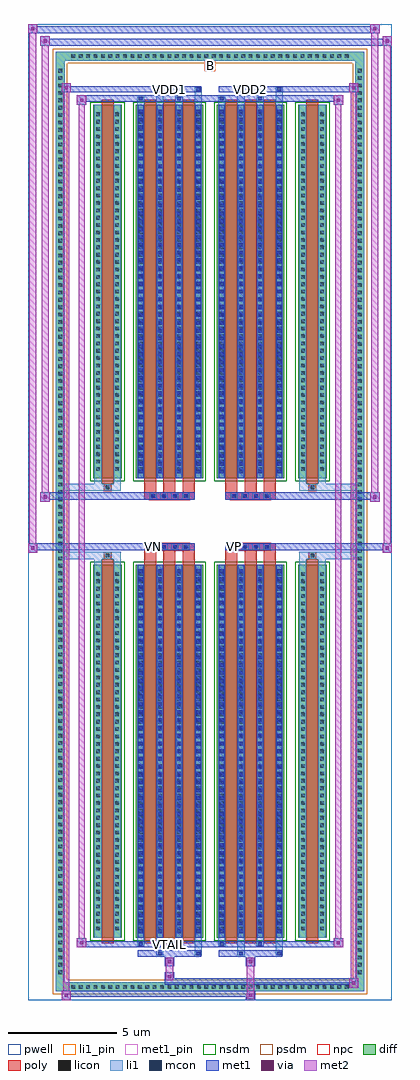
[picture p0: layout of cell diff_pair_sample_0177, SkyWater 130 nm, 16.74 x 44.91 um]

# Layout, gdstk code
import gdstk
lib = gdstk.Library(unit=1e-6, precision=5e-09)
def R(c, l, rs):  # rectangles x0, y0, x1, y1
    for r in rs: c.add(gdstk.rectangle(r[:2], r[2:], *l))
def A(c, l, x, y, w, h, nx, ny, dx, dy):  # array of equal rectangles
    R(c, l, [(x+i*dx, y+j*dy, x+i*dx+w, y+j*dy+h) for i in range(nx) for j in range(ny)])
def P(c, l, *ps):  # polygons
    for p in ps: c.add(gdstk.Polygon(p, *l))
pwell = (64, 44)
diff = (65, 20)
poly = (66, 20)
licon = (66, 44)
li1_pin = (67, 16)
li1 = (67, 20)
mcon = (67, 44)
met1_pin = (68, 16)
met1 = (68, 20)
via = (68, 44)
met2 = (69, 20)
nsdm = (93, 44)
psdm = (94, 20)
npc = (95, 20)

diff_pair_sample_0177 = lib.new_cell('diff_pair_sample_0177')
R(diff_pair_sample_0177, pwell, [(-8.37,-22.02,8.37,22.89), (-5.69,-20.21,-0.01,-0.805), (0.01,-20.21,5.69,-0.805), (-5.69,0.805,-0.01,20.21), (0.01,0.805,5.69,20.21)])
A(diff_pair_sample_0177, diff, -6.495, -21.62, 0.41, 0.41, 38, 2, 0.34, 42.83)
A(diff_pair_sample_0177, diff, -7.1, -20.945, 0.41, 0.41, 1, 123, 0, 0.34)
A(diff_pair_sample_0177, diff, 6.69, -20.945, 0.41, 0.41, 1, 123, 0, 0.34)
R(diff_pair_sample_0177, diff, [(-6.495,-21.62,6.495,-21.21), (-7.1,-20.945,-6.69,20.945), (6.69,-20.945,7.1,20.945), (-5.38,-19.165,-4.05,-1.985), (-3.41,-19.165,-0.32,-1.985), (0.32,-19.165,3.41,-1.985), (4.05,-19.165,5.38,-1.985), (-5.38,1.985,-4.05,19.165), (-3.41,1.985,-0.32,19.165), (0.32,1.985,3.41,19.165), (4.05,1.985,5.38,19.165), (-6.495,21.21,6.495,21.62)])
P(diff_pair_sample_0177, diff, [(7.1,21.62),(-7.1,21.62),(-7.1,-21.21),(-6.69,-21.21),(-6.69,21.21),(6.69,21.21),(6.69,-21.21),(-6.69,-21.21),(-7.1,-21.21),(-7.1,-21.62),(7.1,-21.62)])
A(diff_pair_sample_0177, poly, -3.02, -19.415, 0.55, 17.68, 3, 2, 0.88, 21.15)
A(diff_pair_sample_0177, poly, 0.71, -19.415, 0.55, 17.68, 3, 2, 0.88, 21.15)
A(diff_pair_sample_0177, poly, -3.02, -1.735, 0.55, 0.4, 3, 2, 0.88, 3.07)
A(diff_pair_sample_0177, poly, 0.71, -1.735, 0.55, 0.4, 3, 2, 0.88, 3.07)
A(diff_pair_sample_0177, poly, -2.78, -1.335, 0.33, 0.33, 4, 2, 0.5, 2.34)
A(diff_pair_sample_0177, poly, 0.95, -1.335, 0.33, 0.33, 4, 2, 0.5, 2.34)
R(diff_pair_sample_0177, poly, [(-4.99,-19.415,-4.44,-1.735), (4.44,-19.415,4.99,-1.735), (-4.88,-1.735,-4.55,-1.405), (-4.88,-1.735,-4.55,-1.405), (4.55,-1.735,4.88,-1.405), (4.55,-1.735,4.88,-1.405), (-3.02,-1.335,-0.71,-1.005), (0.71,-1.335,3.02,-1.005), (-3.02,1.005,-0.71,1.335), (0.71,1.005,3.02,1.335), (-4.88,1.405,-4.55,1.735), (-4.88,1.405,-4.55,1.735), (4.55,1.405,4.88,1.735), (4.55,1.405,4.88,1.735), (-4.99,1.735,-4.44,19.415), (4.44,1.735,4.99,19.415)])
A(diff_pair_sample_0177, licon, -6.375, -21.5, 0.17, 0.17, 38, 2, 0.34, 42.83)
A(diff_pair_sample_0177, licon, -6.98, -20.825, 0.17, 0.17, 1, 123, 0, 0.34)
A(diff_pair_sample_0177, licon, 6.81, -20.825, 0.17, 0.17, 1, 123, 0, 0.34)
A(diff_pair_sample_0177, licon, -5.24, -18.82, 0.17, 0.17, 1, 49, 0, 0.34)
A(diff_pair_sample_0177, licon, -4.36, -18.82, 0.17, 0.17, 1, 49, 0, 0.34)
A(diff_pair_sample_0177, licon, -3.27, -18.82, 0.17, 0.17, 4, 49, 0.88, 0.34)
A(diff_pair_sample_0177, licon, 0.46, -18.82, 0.17, 0.17, 4, 49, 0.88, 0.34)
A(diff_pair_sample_0177, licon, 4.19, -18.82, 0.17, 0.17, 1, 49, 0, 0.34)
A(diff_pair_sample_0177, licon, 5.07, -18.82, 0.17, 0.17, 1, 49, 0, 0.34)
A(diff_pair_sample_0177, licon, -2.7, -1.255, 0.17, 0.17, 4, 2, 0.5, 2.34)
A(diff_pair_sample_0177, licon, 1.03, -1.255, 0.17, 0.17, 4, 2, 0.5, 2.34)
A(diff_pair_sample_0177, licon, -5.24, 2.33, 0.17, 0.17, 1, 49, 0, 0.34)
A(diff_pair_sample_0177, licon, -4.36, 2.33, 0.17, 0.17, 1, 49, 0, 0.34)
A(diff_pair_sample_0177, licon, -3.27, 2.33, 0.17, 0.17, 4, 49, 0.88, 0.34)
A(diff_pair_sample_0177, licon, 0.46, 2.33, 0.17, 0.17, 4, 49, 0.88, 0.34)
A(diff_pair_sample_0177, licon, 4.19, 2.33, 0.17, 0.17, 1, 49, 0, 0.34)
A(diff_pair_sample_0177, licon, 5.07, 2.33, 0.17, 0.17, 1, 49, 0, 0.34)
R(diff_pair_sample_0177, licon, [(-4.8,-1.655,-4.63,-1.485), (4.63,-1.655,4.8,-1.485), (-4.8,1.485,-4.63,1.655), (4.63,1.485,4.8,1.655)])
R(diff_pair_sample_0177, li1_pin, [(-0.25,20.71,0.25,21.21)])
A(diff_pair_sample_0177, li1, -6.455, -21.58, 0.33, 0.33, 38, 2, 0.34, 42.83)
A(diff_pair_sample_0177, li1, -7.06, -20.905, 0.33, 0.33, 1, 123, 0, 0.34)
A(diff_pair_sample_0177, li1, 6.73, -20.905, 0.33, 0.33, 1, 123, 0, 0.34)
A(diff_pair_sample_0177, li1, -3.35, -19.165, 0.33, 17.18, 4, 2, 0.88, 21.15)
A(diff_pair_sample_0177, li1, 0.38, -19.165, 0.33, 17.18, 4, 2, 0.88, 21.15)
A(diff_pair_sample_0177, li1, -3.27, -18.94, 0.17, 0.17, 4, 47, 0.88, 0.36)
A(diff_pair_sample_0177, li1, -3.27, -18.94, 0.17, 16.73, 4, 2, 0.88, 21.15)
A(diff_pair_sample_0177, li1, 0.46, -18.94, 0.17, 0.17, 4, 47, 0.88, 0.36)
A(diff_pair_sample_0177, li1, 0.46, -18.94, 0.17, 16.73, 4, 2, 0.88, 21.15)
A(diff_pair_sample_0177, li1, -5.32, -18.9, 0.33, 0.33, 1, 49, 0, 0.34)
A(diff_pair_sample_0177, li1, -4.44, -18.9, 0.33, 0.33, 1, 49, 0, 0.34)
A(diff_pair_sample_0177, li1, -3.35, -18.9, 0.33, 0.33, 4, 49, 0.88, 0.34)
A(diff_pair_sample_0177, li1, 0.38, -18.9, 0.33, 0.33, 4, 49, 0.88, 0.34)
A(diff_pair_sample_0177, li1, 4.11, -18.9, 0.33, 0.33, 1, 49, 0, 0.34)
A(diff_pair_sample_0177, li1, 4.99, -18.9, 0.33, 0.33, 1, 49, 0, 0.34)
A(diff_pair_sample_0177, li1, -2.78, -1.335, 0.33, 0.33, 4, 2, 0.5, 2.34)
A(diff_pair_sample_0177, li1, 0.95, -1.335, 0.33, 0.33, 4, 2, 0.5, 2.34)
A(diff_pair_sample_0177, li1, -3.27, 2.21, 0.17, 0.17, 4, 47, 0.88, 0.36)
A(diff_pair_sample_0177, li1, 0.46, 2.21, 0.17, 0.17, 4, 47, 0.88, 0.36)
A(diff_pair_sample_0177, li1, -5.32, 2.25, 0.33, 0.33, 1, 49, 0, 0.34)
A(diff_pair_sample_0177, li1, -4.44, 2.25, 0.33, 0.33, 1, 49, 0, 0.34)
A(diff_pair_sample_0177, li1, -3.35, 2.25, 0.33, 0.33, 4, 49, 0.88, 0.34)
A(diff_pair_sample_0177, li1, 0.38, 2.25, 0.33, 0.33, 4, 49, 0.88, 0.34)
A(diff_pair_sample_0177, li1, 4.11, 2.25, 0.33, 0.33, 1, 49, 0, 0.34)
A(diff_pair_sample_0177, li1, 4.99, 2.25, 0.33, 0.33, 1, 49, 0, 0.34)
R(diff_pair_sample_0177, li1, [(-7.1,-21.62,-6.69,-21.21), (-7.1,-21.62,-6.69,-21.21), (-6.69,-21.62,6.69,-21.21), (6.69,-21.62,7.1,-21.21), (6.69,-21.62,7.1,-21.21), (-7.1,-21.21,-6.69,21.21), (6.69,-21.21,7.1,21.21), (-2.47,-19.97,-2.14,-19.165), (-2.39,-19.97,-2.22,-19.8), (-0.71,-19.97,-0.38,-19.165), (-0.63,-19.97,-0.46,-19.8), (1.26,-19.97,1.59,-19.165), (1.34,-19.97,1.51,-19.8), (3.02,-19.97,3.35,-19.165), (3.1,-19.97,3.27,-19.8), (-3.35,-19.54,-3.02,-19.165), (-3.27,-19.54,-3.1,-19.37), (-1.59,-19.54,-1.26,-19.165), (-1.51,-19.54,-1.34,-19.37), (0.38,-19.54,0.71,-19.165), (0.46,-19.54,0.63,-19.37), (2.14,-19.54,2.47,-19.165), (2.22,-19.54,2.39,-19.37), (-5.32,-19.165,-4.99,-1.985), (-4.44,-19.165,-4.11,-1.985), (4.11,-19.165,4.44,-1.985), (4.99,-19.165,5.32,-1.985), (-5.32,-1.985,-4.99,-1.405), (-4.44,-1.985,-4.11,-1.405), (4.11,-1.985,4.44,-1.405), (4.99,-1.985,5.32,-1.405), (-7.1,-1.735,-4.88,-1.405), (-5.32,-1.735,-4.88,-1.405), (-4.88,-1.735,-4.55,-1.405), (-4.55,-1.735,-4.11,-1.405), (4.11,-1.735,4.55,-1.405), (4.55,-1.735,4.88,-1.405), (4.55,-1.735,7.1,-1.405), (4.88,-1.735,5.32,-1.405), (-7.1,1.405,-4.88,1.735), (-5.32,1.405,-4.88,1.735), (-5.32,1.405,-4.99,1.985), (-4.88,1.405,-4.55,1.735), (-4.55,1.405,-4.11,1.735), (-4.44,1.405,-4.11,1.985), (4.11,1.405,4.55,1.735), (4.11,1.405,4.44,1.985), (4.55,1.405,4.88,1.735), (4.55,1.405,7.1,1.735), (4.88,1.405,5.32,1.735), (4.99,1.405,5.32,1.985), (-5.32,1.985,-4.99,19.165), (-4.44,1.985,-4.11,19.165), (4.11,1.985,4.44,19.165), (4.99,1.985,5.32,19.165), (-3.35,19.165,-3.02,19.54), (-2.47,19.165,-2.14,19.97), (-1.59,19.165,-1.26,19.54), (-0.71,19.165,-0.38,19.97), (0.38,19.165,0.71,19.54), (1.26,19.165,1.59,19.97), (2.14,19.165,2.47,19.54), (3.02,19.165,3.35,19.97), (-3.27,19.37,-3.1,19.54), (-1.51,19.37,-1.34,19.54), (0.46,19.37,0.63,19.54), (2.22,19.37,2.39,19.54), (-2.39,19.8,-2.22,19.97), (-0.63,19.8,-0.46,19.97), (1.34,19.8,1.51,19.97), (3.1,19.8,3.27,19.97), (-7.1,21.21,-6.69,21.62), (-7.1,21.21,-6.69,21.62), (-6.69,21.21,6.69,21.62), (6.69,21.21,7.1,21.62), (6.69,21.21,7.1,21.62)])
A(diff_pair_sample_0177, mcon, -3.27, -18.94, 0.17, 0.17, 4, 47, 0.88, 0.36)
A(diff_pair_sample_0177, mcon, 0.46, -18.94, 0.17, 0.17, 4, 47, 0.88, 0.36)
A(diff_pair_sample_0177, mcon, -2.7, -1.255, 0.17, 0.17, 4, 2, 0.5, 2.34)
A(diff_pair_sample_0177, mcon, 1.03, -1.255, 0.17, 0.17, 4, 2, 0.5, 2.34)
A(diff_pair_sample_0177, mcon, -3.27, 2.21, 0.17, 0.17, 4, 47, 0.88, 0.36)
A(diff_pair_sample_0177, mcon, 0.46, 2.21, 0.17, 0.17, 4, 47, 0.88, 0.36)
R(diff_pair_sample_0177, mcon, [(-2.39,-19.97,-2.22,-19.8), (-0.63,-19.97,-0.46,-19.8), (1.34,-19.97,1.51,-19.8), (3.1,-19.97,3.27,-19.8), (-3.27,-19.54,-3.1,-19.37), (-1.51,-19.54,-1.34,-19.37), (0.46,-19.54,0.63,-19.37), (2.22,-19.54,2.39,-19.37), (-3.27,19.37,-3.1,19.54), (-1.51,19.37,-1.34,19.54), (0.46,19.37,0.63,19.54), (2.22,19.37,2.39,19.54), (-2.39,19.8,-2.22,19.97), (-0.63,19.8,-0.46,19.97), (1.34,19.8,1.51,19.97), (3.1,19.8,3.27,19.97)])
R(diff_pair_sample_0177, met1_pin, [(-2,-19.58,-1.73,-19.31), (-2.75,-1.295,-2.48,-1.025), (0.98,-1.295,1.25,-1.025), (-2,19.76,-1.73,20.03), (1.73,19.76,2,20.03)])
A(diff_pair_sample_0177, met1, -3.33, -19.165, 0.29, 17.18, 4, 2, 0.88, 21.15)
A(diff_pair_sample_0177, met1, 0.4, -19.165, 0.29, 17.18, 4, 2, 0.88, 21.15)
A(diff_pair_sample_0177, met1, -3.33, -19, 0.29, 0.29, 4, 47, 0.88, 0.36)
A(diff_pair_sample_0177, met1, 0.4, -19, 0.29, 0.29, 4, 47, 0.88, 0.36)
A(diff_pair_sample_0177, met1, -2.76, -1.315, 0.29, 0.29, 4, 2, 0.5, 2.34)
A(diff_pair_sample_0177, met1, 0.97, -1.315, 0.29, 0.29, 4, 2, 0.5, 2.34)
A(diff_pair_sample_0177, met1, -3.33, 2.15, 0.29, 0.29, 4, 47, 0.88, 0.36)
A(diff_pair_sample_0177, met1, 0.4, 2.15, 0.29, 0.29, 4, 47, 0.88, 0.36)
R(diff_pair_sample_0177, met1, [(-6.83,-22.02,-6.4,-21.59), (1.65,-22.02,2.08,-21.59), (-6.83,-21.88,2.08,-21.59), (6.4,-21.45,6.83,-21.02), (-2.08,-21.31,6.83,-21.02), (-2.08,-21.17,-1.65,-20.74), (-2.08,-20.46,-1.65,-20.03), (1.65,-20.46,2.08,-20.03), (-3.33,-20.03,-0.4,-19.74), (-2.45,-20.03,-2.16,-19.74), (-0.69,-20.03,-0.4,-19.74), (0.4,-20.03,3.33,-19.74), (1.28,-20.03,1.57,-19.74), (3.04,-20.03,3.33,-19.74), (-6.12,-19.6,-5.69,-19.17), (-6.12,-19.6,-3.33,-19.31), (-3.33,-19.6,-3.04,-19.31), (-3.33,-19.6,-0.4,-19.31), (-1.57,-19.6,-1.28,-19.31), (-0.4,-19.6,0.4,-19.31), (0.4,-19.6,0.69,-19.31), (0.4,-19.6,3.33,-19.31), (2.16,-19.6,2.45,-19.31), (3.33,-19.6,6.12,-19.31), (5.69,-19.6,6.12,-19.17), (-8.37,-1.435,-7.94,-1.005), (7.94,-1.435,8.37,-1.005), (-8.37,-1.335,-0.71,-1.005), (-3.02,-1.335,-0.71,-1.005), (0.71,-1.335,3.02,-1.005), (0.71,-1.335,8.37,-1.005), (-7.8,0.905,-7.37,1.335), (7.37,0.905,7.8,1.335), (-7.8,1.005,-3.02,1.335), (-3.02,1.005,-0.71,1.335), (0.71,1.005,3.02,1.335), (3.02,1.005,7.8,1.335), (-6.12,19.17,-5.69,19.6), (5.69,19.17,6.12,19.6), (-6.12,19.31,-3.33,19.6), (-3.33,19.31,-3.04,19.6), (-3.33,19.31,-0.4,19.6), (-1.57,19.31,-1.28,19.6), (-0.4,19.31,0.4,19.6), (0.4,19.31,0.69,19.6), (0.4,19.31,3.33,19.6), (2.16,19.31,2.45,19.6), (3.33,19.31,6.12,19.6), (-6.83,19.74,-6.4,20.17), (-6.83,19.74,-3.33,20.03), (-3.33,19.74,-0.4,20.03), (-2.45,19.74,-2.16,20.03), (-0.69,19.74,-0.4,20.03), (0.4,19.74,3.33,20.03), (1.28,19.74,1.57,20.03), (3.04,19.74,3.33,20.03), (3.33,19.74,6.83,20.03), (6.4,19.74,6.83,20.17), (-7.8,21.89,-7.37,22.32), (-7.8,21.89,-5.69,22.22), (-5.69,21.89,5.69,22.22), (5.69,21.89,8.37,22.22), (7.94,21.89,8.37,22.32), (-8.37,22.46,-7.94,22.89), (-8.37,22.46,-5.69,22.79), (-5.69,22.46,5.69,22.79), (5.69,22.46,7.8,22.79), (7.37,22.46,7.8,22.89)])
R(diff_pair_sample_0177, via, [(-6.69,-21.88,-6.54,-21.73), (1.79,-21.88,1.94,-21.73), (6.54,-21.31,6.69,-21.16), (-1.94,-21.03,-1.79,-20.88), (-1.94,-20.32,-1.79,-20.17), (1.79,-20.32,1.94,-20.17), (-5.98,-19.46,-5.83,-19.31), (5.83,-19.46,5.98,-19.31), (-8.23,-1.295,-8.08,-1.145), (8.08,-1.295,8.23,-1.145), (-7.66,1.045,-7.51,1.195), (7.51,1.045,7.66,1.195), (-5.98,19.31,-5.83,19.46), (5.83,19.31,5.98,19.46), (-6.69,19.88,-6.54,20.03), (6.54,19.88,6.69,20.03), (-7.66,22.03,-7.51,22.18), (8.08,22.03,8.23,22.18), (-8.23,22.6,-8.08,22.75), (7.51,22.6,7.66,22.75)])
R(diff_pair_sample_0177, met2, [(-6.83,-22.02,-6.4,-21.59), (-6.76,-22.02,-6.47,20.17), (-6.47,-22.02,-6.4,-21.59), (-6.78,-21.97,-6.45,-21.64), (1.7,-21.97,2.03,-21.64), (1.7,-21.64,2.03,-20.41), (6.4,-21.45,6.83,-21.02), (6.47,-21.45,6.76,20.17), (6.76,-21.45,6.83,-21.02), (6.45,-21.4,6.78,-21.07), (-2.03,-21.12,-1.7,-20.79), (-2.03,-20.79,-1.7,-20.41), (-2.03,-20.41,-1.7,-20.08), (1.7,-20.41,2.03,-20.08), (-6.12,-19.6,-5.69,-19.17), (-6.05,-19.6,-5.76,19.6), (-5.76,-19.6,-5.69,-19.17), (5.69,-19.6,6.12,-19.17), (5.76,-19.6,6.05,19.6), (6.05,-19.6,6.12,-19.17), (-6.07,-19.55,-5.74,-19.22), (5.74,-19.55,6.07,-19.22), (-8.37,-1.435,-7.94,-1.005), (-8.32,-1.435,-7.99,22.89), (-7.99,-1.435,-7.94,-1.005), (7.94,-1.435,8.37,-1.005), (7.99,-1.435,8.32,22.32), (8.32,-1.435,8.37,-1.005), (-8.32,-1.385,-7.99,-1.055), (7.99,-1.385,8.32,-1.055), (-7.8,0.905,-7.37,1.335), (-7.75,0.905,-7.42,22.32), (-7.42,0.905,-7.37,1.335), (7.37,0.905,7.8,1.335), (7.42,0.905,7.75,22.89), (7.75,0.905,7.8,1.335), (-7.75,0.955,-7.42,1.285), (7.42,0.955,7.75,1.285), (-6.12,19.17,-5.69,19.6), (-5.76,19.17,-5.69,19.6), (5.69,19.17,6.12,19.6), (6.05,19.17,6.12,19.6), (-6.07,19.22,-5.74,19.55), (5.74,19.22,6.07,19.55), (-6.83,19.74,-6.4,20.17), (-6.47,19.74,-6.4,20.17), (6.4,19.74,6.83,20.17), (6.76,19.74,6.83,20.17), (-6.78,19.79,-6.45,20.12), (6.45,19.79,6.78,20.12), (-7.8,21.89,-7.37,22.32), (-7.42,21.89,-7.37,22.32), (7.94,21.89,8.37,22.32), (8.32,21.89,8.37,22.32), (-7.75,21.94,-7.42,22.27), (7.99,21.94,8.32,22.27), (-8.37,22.46,-7.94,22.89), (-7.99,22.46,-7.94,22.89), (7.37,22.46,7.8,22.89), (7.75,22.46,7.8,22.89), (-8.32,22.51,-7.99,22.84), (7.42,22.51,7.75,22.84)])
R(diff_pair_sample_0177, nsdm, [(-5.51,-19.295,-3.92,-1.855), (-3.54,-19.295,-0.19,-1.855), (0.19,-19.295,3.54,-1.855), (3.92,-19.295,5.51,-1.855), (-5.51,1.855,-3.92,19.295), (-3.54,1.855,-0.19,19.295), (0.19,1.855,3.54,19.295), (3.92,1.855,5.51,19.295)])
P(diff_pair_sample_0177, psdm, [(7.23,21.75),(-7.23,21.75),(-7.23,-21.08),(-6.56,-21.08),(-6.56,21.08),(6.56,21.08),(6.56,-21.08),(-6.56,-21.08),(-7.23,-21.08),(-7.23,-21.75),(7.23,-21.75)])
A(diff_pair_sample_0177, npc, -2.8, -1.355, 0.37, 0.37, 4, 2, 0.5, 2.34)
A(diff_pair_sample_0177, npc, 0.93, -1.355, 0.37, 0.37, 4, 2, 0.5, 2.34)
R(diff_pair_sample_0177, npc, [(-4.9,-1.755,-4.53,-1.385), (4.53,-1.755,4.9,-1.385), (-2.8,-1.355,-1.93,-0.985), (-2.8,-1.355,-1.93,-0.985), (-2.3,-1.355,-1.43,-0.985), (-2.3,-1.355,-1.43,-0.985), (-1.8,-1.355,-0.93,-0.985), (-1.8,-1.355,-0.93,-0.985), (0.93,-1.355,1.8,-0.985), (0.93,-1.355,1.8,-0.985), (1.43,-1.355,2.3,-0.985), (1.43,-1.355,2.3,-0.985), (1.93,-1.355,2.8,-0.985), (1.93,-1.355,2.8,-0.985), (-2.8,0.985,-1.93,1.355), (-2.8,0.985,-1.93,1.355), (-2.3,0.985,-1.43,1.355), (-2.3,0.985,-1.43,1.355), (-1.8,0.985,-0.93,1.355), (-1.8,0.985,-0.93,1.355), (0.93,0.985,1.8,1.355), (0.93,0.985,1.8,1.355), (1.43,0.985,2.3,1.355), (1.43,0.985,2.3,1.355), (1.93,0.985,2.8,1.355), (1.93,0.985,2.8,1.355), (-4.9,1.385,-4.53,1.755), (4.53,1.385,4.9,1.755)])
diff_pair_sample_0177.add(gdstk.Label('VTAIL', (-1.865,-19.445), layer=68, texttype=5))
diff_pair_sample_0177.add(gdstk.Label('VN', (-2.615,-1.16), layer=68, texttype=5))
diff_pair_sample_0177.add(gdstk.Label('VP', (1.115,-1.16), layer=68, texttype=5))
diff_pair_sample_0177.add(gdstk.Label('B', (0,20.96), layer=67, texttype=5))
diff_pair_sample_0177.add(gdstk.Label('VDD2', (1.865,19.895), layer=68, texttype=5))
diff_pair_sample_0177.add(gdstk.Label('VDD1', (-1.865,19.895), layer=68, texttype=5))

lib.write_gds('diff_pair_sample_0177.gds')
